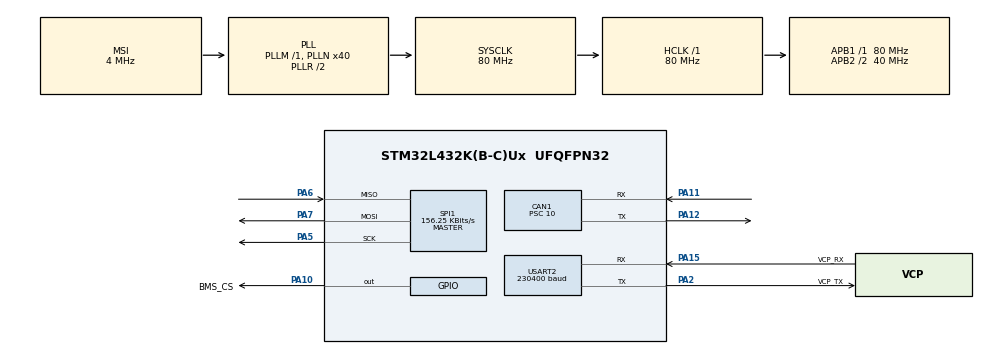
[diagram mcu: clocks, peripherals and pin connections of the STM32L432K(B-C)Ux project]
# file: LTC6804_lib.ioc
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CAN1.ABOM=ENABLE
CAN1.AWUM=ENABLE
CAN1.BS1=CAN_BS1_12TQ
CAN1.BS2=CAN_BS2_3TQ
CAN1.CalculateTimeBit=2000
CAN1.CalculateTimeQuantum=125.0
CAN1.Prescaler=10
CAN1.SJW=CAN_SJW_3TQ
CRC.CRCLength=CRC_POLYLENGTH_16B
CRC.DefaultInitValueUse=DEFAULT_INIT_VALUE_DISABLE
CRC.DefaultPolynomialUse=DEFAULT_POLYNOMIAL_DISABLE
CRC.GeneratingPolynomial=X15+X14+X10+X8+X7+X4+X3+X0
CRC.InitValue=16
Dma.Request0=USART2_RX
Dma.Request1=USART2_TX
Dma.Request2=SPI1_TX
Dma.Request3=SPI1_RX
Dma.SPI1_RX.3.Direction=DMA_PERIPH_TO_MEMORY
Dma.SPI1_RX.3.Instance=DMA1_Channel2
Dma.SPI1_RX.3.MemDataAlignment=DMA_MDATAALIGN_BYTE
Dma.SPI1_RX.3.MemInc=DMA_MINC_ENABLE
Dma.SPI1_RX.3.Mode=DMA_NORMAL
Dma.SPI1_RX.3.PeriphDataAlignment=DMA_PDATAALIGN_BYTE
Dma.SPI1_RX.3.PeriphInc=DMA_PINC_DISABLE
Dma.SPI1_RX.3.Priority=DMA_PRIORITY_VERY_HIGH
Dma.SPI1_TX.2.Direction=DMA_MEMORY_TO_PERIPH
Dma.SPI1_TX.2.Instance=DMA1_Channel3
Dma.SPI1_TX.2.MemDataAlignment=DMA_MDATAALIGN_BYTE
Dma.SPI1_TX.2.MemInc=DMA_MINC_ENABLE
Dma.SPI1_TX.2.Mode=DMA_NORMAL
Dma.SPI1_TX.2.PeriphDataAlignment=DMA_PDATAALIGN_BYTE
Dma.SPI1_TX.2.PeriphInc=DMA_PINC_DISABLE
Dma.SPI1_TX.2.Priority=DMA_PRIORITY_HIGH
Dma.USART2_RX.0.Direction=DMA_PERIPH_TO_MEMORY
Dma.USART2_RX.0.Instance=DMA1_Channel6
Dma.USART2_RX.0.MemDataAlignment=DMA_MDATAALIGN_BYTE
Dma.USART2_RX.0.MemInc=DMA_MINC_ENABLE
Dma.USART2_RX.0.Mode=DMA_CIRCULAR
Dma.USART2_RX.0.PeriphDataAlignment=DMA_PDATAALIGN_BYTE
Dma.USART2_RX.0.PeriphInc=DMA_PINC_DISABLE
Dma.USART2_RX.0.Priority=DMA_PRIORITY_HIGH
Dma.USART2_TX.1.Direction=DMA_MEMORY_TO_PERIPH
Dma.USART2_TX.1.Instance=DMA1_Channel7
Dma.USART2_TX.1.MemDataAlignment=DMA_MDATAALIGN_BYTE
Dma.USART2_TX.1.MemInc=DMA_MINC_ENABLE
Dma.USART2_TX.1.Mode=DMA_NORMAL
Dma.USART2_TX.1.PeriphDataAlignment=DMA_PDATAALIGN_BYTE
Dma.USART2_TX.1.PeriphInc=DMA_PINC_DISABLE
Dma.USART2_TX.1.Priority=DMA_PRIORITY_MEDIUM
FREERTOS.BinarySemaphores01=bmsTRxComplete
FREERTOS.INCLUDE_eTaskGetState=1
FREERTOS.INCLUDE_vTaskDelayUntil=1
FREERTOS.INCLUDE_xQueueGetMutexHolder=1
FREERTOS.INCLUDE_xSemaphoreGetMutexHolder=1
FREERTOS.INCLUDE_xTaskGetCurrentTaskHandle=1
FREERTOS.Mutexes01=swMtx
FREERTOS.Queues01=mainCanTxQ,16,Can_frame_t,NULL;mainCanRxQ,16,Can_frame_t,NULL
FREERTOS.Tasks01=Application,0,512,doApplication,Default;Can_Processor,-1,512,doProcessCan,Default
FREERTOS.Timers01=WWDGTmr,TmrKickDog,osTimerPeriodic,Default;HBTmr,TmrSendHB,osTimerPeriodic,Default
FREERTOS.configCHECK_FOR_STACK_OVERFLOW=2
FREERTOS.configENABLE_BACKWARD_COMPATIBILITY=0
FREERTOS.configMAX_PRIORITIES=6
FREERTOS.configMINIMAL_STACK_SIZE=256
FREERTOS.configTIMER_QUEUE_LENGTH=8
FREERTOS.configTIMER_TASK_PRIORITY=5
FREERTOS.configTIMER_TASK_STACK_DEPTH=512
FREERTOS.configTOTAL_HEAP_SIZE=32786
FREERTOS.configUSE_MALLOC_FAILED_HOOK=1
FREERTOS.configUSE_PORT_OPTIMISED_TASK_SELECTION=1
FREERTOS.configUSE_TASK_NOTIFICATIONS=0
FREERTOS.configUSE_TIMERS=1
FREERTOS.configUSE_TRACE_FACILITY=0
Mcu.Family=STM32L4
Mcu.Name=STM32L432K(B-C)Ux
Mcu.Package=UFQFPN32
NVIC.CAN1_RX0_IRQn=true\:5\:0\:true\:false\:true\:true
NVIC.CAN1_RX1_IRQn=true\:5\:0\:true\:false\:true\:true
NVIC.CAN1_SCE_IRQn=true\:5\:0\:true\:false\:true\:true
NVIC.CAN1_TX_IRQn=true\:5\:0\:true\:false\:true\:true
NVIC.DMA1_Channel2_IRQn=true\:5\:0\:false\:false\:true\:true
NVIC.DMA1_Channel3_IRQn=true\:5\:0\:false\:false\:true\:true
NVIC.DMA1_Channel6_IRQn=true\:5\:0\:false\:false\:true\:true
NVIC.DMA1_Channel7_IRQn=true\:5\:0\:false\:false\:true\:true
NVIC.PriorityGroup=NVIC_PRIORITYGROUP_4
NVIC.SPI1_IRQn=true\:5\:0\:false\:false\:true\:true
NVIC.TIM6_DAC_IRQn=true\:0\:0\:false\:false\:true\:false
NVIC.TimeBase=TIM6_DAC_IRQn
NVIC.TimeBaseIP=TIM6
NVIC.USART2_IRQn=true\:5\:0\:false\:false\:true\:true
PA10.GPIO_Label=BMS_CS
PA10.GPIO_ModeDefaultOutputPP=GPIO_MODE_OUTPUT_PP
PA10.GPIO_PuPd=GPIO_PULLUP
PA10.GPIO_Speed=GPIO_SPEED_FREQ_LOW
PA10.PinState=GPIO_PIN_SET
PA10.Signal=GPIO_Output
PA11.Mode=Master
PA11.Signal=CAN1_RX
PA12.Mode=Master
PA12.Signal=CAN1_TX
PA13\ (JTMS-SWDIO).Mode=Serial_Wire
PA13\ (JTMS-SWDIO).Signal=SYS_JTMS-SWDIO
PA14\ (JTCK-SWCLK).Mode=Serial_Wire
PA14\ (JTCK-SWCLK).Signal=SYS_JTCK-SWCLK
PA15\ (JTDI).GPIO_Label=VCP_RX
PA15\ (JTDI).Mode=Asynchronous
PA15\ (JTDI).Signal=USART2_RX
PA2.GPIO_Label=VCP_TX
PA2.Mode=Asynchronous
PA2.Signal=USART2_TX
PA5.Mode=Full_Duplex_Master
PA5.Signal=SPI1_SCK
PA6.Mode=Full_Duplex_Master
PA6.Signal=SPI1_MISO
PA7.Mode=Full_Duplex_Master
PA7.Signal=SPI1_MOSI
ProjectManager.HeapSize=0x200
ProjectManager.StackSize=0x400
ProjectManager.TargetToolchain=SW4STM32
RCC.ADCCLockSelection=RCC_ADCCLKSOURCE_SYSCLK
RCC.ADCFreq_Value=80000000
RCC.AHBFreq_Value=80000000
RCC.APB1Freq_Value=80000000
RCC.APB1TimFreq_Value=80000000
RCC.APB2CLKDivider=RCC_HCLK_DIV2
RCC.APB2Freq_Value=40000000
RCC.APB2TimFreq_Value=80000000
RCC.CortexFreq_Value=80000000
RCC.HCLKFreq_Value=80000000
RCC.HSE_VALUE=8000000
RCC.HSI16_VALUE=16000000
RCC.HSI48_VALUE=48000000
RCC.HSI_VALUE=16000000
RCC.LSE_VALUE=32768
RCC.MSI_VALUE=4000000
RCC.PLLMUL=RCC_PLLMUL_4
RCC.PLLN=40
RCC.PLLSAI1N=40
RCC.PREFETCH_ENABLE=1
RCC.SYSCLKFreq_VALUE=80000000
RCC.SYSCLKSource=RCC_SYSCLKSOURCE_PLLCLK
RCC.USBFreq_Value=80000000
RCC.VCOOutputFreq_Value=160000000
SPI1.BaudRatePrescaler=SPI_BAUDRATEPRESCALER_256
SPI1.CLKPhase=SPI_PHASE_2EDGE
SPI1.CLKPolarity=SPI_POLARITY_HIGH
SPI1.CalculateBaudRate=156.25 KBits/s
SPI1.DataSize=SPI_DATASIZE_8BIT
SPI1.Mode=SPI_MODE_MASTER
USART2.BaudRate=230400
USART2.WordLength=UART_WORDLENGTH_8B
VP_CRC_VS_CRC.Mode=CRC_Activate
VP_FREERTOS_VS_ENABLE.Mode=Enabled
VP_SYS_VS_tim6.Mode=TIM6
VP_WWDG_VS_WWDG.Mode=WWDG_Activate
WWDG.Counter=127
WWDG.Prescaler=WWDG_PRESCALER_8
WWDG.Window=127
board=NUCLEO-L432KC

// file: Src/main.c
/**
  ******************************************************************************
  * File Name          : main.c
  * Description        : Main program body
  ******************************************************************************
  *
  * Copyright (c) 2017 STMicroelectronics International N.V.
  * All rights reserved.
  *
  * Redistribution and use in source and binary forms, with or without
  * modification, are permitted, provided that the following conditions are met:
  *
  * 1. Redistribution of source code must retain the above copyright notice,
  *    this list of conditions and the following disclaimer.
  * 2. Redistributions in binary form must reproduce the above copyright notice,
  *    this list of conditions and the following disclaimer in the documentation
  *    and/or other materials provided with the distribution.
  * 3. Neither the name of STMicroelectronics nor the names of other
  *    contributors to this software may be used to endorse or promote products
  *    derived from this software without specific written permission.
  * 4. This software, including modifications and/or derivative works of this
  *    software, must execute solely and exclusively on microcontroller or
  *    microprocessor devices manufactured by or for STMicroelectronics.
  * 5. Redistribution and use of this software other than as permitted under
  *    this license is void and will automatically terminate your rights under
  *    this license.
  *
  * THIS SOFTWARE IS PROVIDED BY STMICROELECTRONICS AND CONTRIBUTORS "AS IS"
  * AND ANY EXPRESS, IMPLIED OR STATUTORY WARRANTIES, INCLUDING, BUT NOT
  * LIMITED TO, THE IMPLIED WARRANTIES OF MERCHANTABILITY, FITNESS FOR A
  * PARTICULAR PURPOSE AND NON-INFRINGEMENT OF THIRD PARTY INTELLECTUAL PROPERTY
  * RIGHTS ARE DISCLAIMED TO THE FULLEST EXTENT PERMITTED BY LAW. IN NO EVENT
  * SHALL STMICROELECTRONICS OR CONTRIBUTORS BE LIABLE FOR ANY DIRECT, INDIRECT,
  * INCIDENTAL, SPECIAL, EXEMPLARY, OR CONSEQUENTIAL DAMAGES (INCLUDING, BUT NOT
  * LIMITED TO, PROCUREMENT OF SUBSTITUTE GOODS OR SERVICES; LOSS OF USE, DATA,
  * OR PROFITS; OR BUSINESS INTERRUPTION) HOWEVER CAUSED AND ON ANY THEORY OF
  * LIABILITY, WHETHER IN CONTRACT, STRICT LIABILITY, OR TORT (INCLUDING
  * NEGLIGENCE OR OTHERWISE) ARISING IN ANY WAY OUT OF THE USE OF THIS SOFTWARE,
  * EVEN IF ADVISED OF THE POSSIBILITY OF SUCH DAMAGE.
  *
  ******************************************************************************
  */
#include "main.h"
#include "stm32l4xx_hal.h"
#include "cmsis_os.h"

/* USER CODE BEGIN Includes */
#include "can.h"
#include "serial.h"
#include "nodeMiscHelpers.h"
#include "nodeConf.h"
#include "../../CAN_ID.h"
#include "LTC68041.h"

// RTOS Task functions + helpers
#include "Can_Processor.h"

/* USER CODE END Includes */

CAN_HandleTypeDef hcan1;

CRC_HandleTypeDef hcrc;

SPI_HandleTypeDef hspi1;
DMA_HandleTypeDef hdma_spi1_tx;
DMA_HandleTypeDef hdma_spi1_rx;

UART_HandleTypeDef huart2;
DMA_HandleTypeDef hdma_usart2_rx;
DMA_HandleTypeDef hdma_usart2_tx;

WWDG_HandleTypeDef hwwdg;

osThreadId ApplicationHandle;
osThreadId Can_ProcessorHandle;
osMessageQId mainCanTxQHandle;
osMessageQId mainCanRxQHandle;
osTimerId WWDGTmrHandle;
osTimerId HBTmrHandle;
osMutexId swMtxHandle;
osSemaphoreId bmsTRxCompleteHandle;

/* USER CODE BEGIN PV */
/* Private variables ---------------------------------------------------------*/
bmsChainHandleTypeDef hbms1;

#ifdef FRANK
const uint32_t firmwareString = 0x00000100;	// v00.00.01.0
const uint8_t selfNodeID = 6;	// Radio
uint32_t selfStatusWord = 0x0;
#define NODE_CONFIGURED
#elif defined (__JAMES__)
static const uint32_t firmwareString = 0x00000100;
static const uint8_t selfNodeID = 6;
uint32_t selfStatusWord = 0x0;
#define NODE_CONFIGURED
#else
// SW_Sentinel will fail the CC firmware check and result in node addition failure!
static const uint32_t firmwareString = ;			// Firmware Version string

static const uint8_t selfNodeID = ;					// The nodeID of this node
uint32_t selfStatusWord = ;							// Initialize
#endif

#ifndef NODE_CONFIGURED
#error "NODE NOT CONFIGURED. GO CONFIGURE IT IN NODECONF.H!"
#endif
/* USER CODE END PV */

void SystemClock_Config(void);
void Error_Handler(void);
static void MX_GPIO_Init(void);
static void MX_DMA_Init(void);
static void MX_CAN1_Init(void);
static void MX_USART2_UART_Init(void);
static void MX_WWDG_Init(void);
static void MX_SPI1_Init(void);
static void MX_CRC_Init(void);
void doApplication(void const * argument);
void doProcessCan(void const * argument);
void TmrKickDog(void const * argument);
void TmrSendHB(void const * argument);

/* USER CODE BEGIN PFP */
/* Private function prototypes -----------------------------------------------*/
#ifdef __JAMES__
void can_rx_cb(){
	static uint8_t cantxmsg[] = "CAN Tx'd.\n";
	Serial2_writeBuf(cantxmsg);
}
#endif
/* USER CODE END PFP */

/* USER CODE BEGIN 0 */
// SPI DMA read channels complete callback
void HAL_SPI_TxRxCpltCallback(SPI_HandleTypeDef *hspi){
	// Check which SPI issued interrupt
	if(hspi == (hbms1.hspi)){
		HAL_GPIO_WritePin(BMS_CS_GPIO_Port,BMS_CS_Pin, GPIO_PIN_SET);
		xSemaphoreGiveFromISR(bmsTRxCompleteHandle, NULL);
	}
}

// SPI DMA write reg complete callback
void HAL_SPI_TxCpltCallback(SPI_HandleTypeDef *hspi){
	// Check which SPI issued interrupt
	if(hspi == (hbms1.hspi)){
		HAL_GPIO_WritePin(BMS_CS_GPIO_Port,BMS_CS_Pin, GPIO_PIN_SET);
	}
}
/* USER CODE END 0 */

int main(void)
{

  /* MCU Configuration----------------------------------------------------------*/

  /* Reset of all peripherals, Initializes the Flash interface and the Systick. */
  HAL_Init();

  /* Configure the system clock */
  SystemClock_Config();

  /* Initialize all configured peripherals */
  MX_GPIO_Init();
  MX_DMA_Init();
  MX_CAN1_Init();
  MX_USART2_UART_Init();
  MX_WWDG_Init();
  MX_SPI1_Init();
  MX_CRC_Init();

  /* USER CODE BEGIN 2 */
  Serial2_begin();
  static uint8_t hbmsg[] = "Booting... \n";
  Serial2_writeBuf(hbmsg);

  ////*IF YOU GET HCAN1 NOT DEFINED ERROR, CHECK NODECONF.H FIRST!*////
  bxCan_begin(&hcan1, &mainCanRxQHandle, &mainCanTxQHandle);
  // TODO: Set node-specific CAN filters
  bxCan_addMaskedFilterStd(0,0,0); // Filter: Status word group (ignore nodeID)
  bxCan_addMaskedFilterExt(0,0,0);

#ifdef __JAMES__
  bxCan_setTxCallback(can_rx_cb);
#endif

  // Set up the global ADC configs for the LTC6804
//  ltc68041ChainInitStruct bmsInitParams[TOTAL_IC];
//  LTC68041_Initialize(&hbms1, bmsInitParams);
  hbms1.hspi = &hspi1;
  if(ltc68041_Initialize(&hbms1) != 0){
	  for(;;);
  }

  HAL_WWDG_Refresh(&hwwdg);
  /* USER CODE END 2 */

  /* Create the mutex(es) */
  /* definition and creation of swMtx */
  osMutexDef(swMtx);
  swMtxHandle = osMutexCreate(osMutex(swMtx));

  /* Create the semaphores(s) */
  /* definition and creation of bmsTRxComplete */
  osSemaphoreDef(bmsTRxComplete);
  bmsTRxCompleteHandle = osSemaphoreCreate(osSemaphore(bmsTRxComplete), 1);

  /* Create the timer(s) */
  /* definition and creation of WWDGTmr */
  osTimerDef(WWDGTmr, TmrKickDog);
  WWDGTmrHandle = osTimerCreate(osTimer(WWDGTmr), osTimerPeriodic, NULL);

  /* definition and creation of HBTmr */
  osTimerDef(HBTmr, TmrSendHB);
  HBTmrHandle = osTimerCreate(osTimer(HBTmr), osTimerPeriodic, NULL);

  /* USER CODE BEGIN RTOS_TIMERS */
  /* start timers, add new ones, ... */
  osTimerStart(WWDGTmrHandle, WD_Interval);
  osTimerStart(HBTmrHandle, HB_Interval);
  /* USER CODE END RTOS_TIMERS */

  /* Create the thread(s) */
  /* definition and creation of Application */
  osThreadDef(Application, doApplication, osPriorityNormal, 0, 512);
  ApplicationHandle = osThreadCreate(osThread(Application), NULL);

  /* definition and creation of Can_Processor */
  osThreadDef(Can_Processor, doProcessCan, osPriorityBelowNormal, 0, 512);
  Can_ProcessorHandle = osThreadCreate(osThread(Can_Processor), NULL);

  /* Create the queue(s) */
  /* definition and creation of mainCanTxQ */
  osMessageQDef(mainCanTxQ, 16, Can_frame_t);
  mainCanTxQHandle = osMessageCreate(osMessageQ(mainCanTxQ), NULL);

  /* definition and creation of mainCanRxQ */
  osMessageQDef(mainCanRxQ, 16, Can_frame_t);
  mainCanRxQHandle = osMessageCreate(osMessageQ(mainCanRxQ), NULL);

  /* Start scheduler */
  osKernelStart();

  /* We should never get here as control is now taken by the scheduler */

  /* Infinite loop */
  while (1)
  {

  }

}

/** System Clock Configuration
*/
void SystemClock_Config(void)
{

  RCC_OscInitTypeDef RCC_OscInitStruct;
  RCC_ClkInitTypeDef RCC_ClkInitStruct;
  RCC_PeriphCLKInitTypeDef PeriphClkInit;

    /**Initializes the CPU, AHB and APB busses clocks
    */
  RCC_OscInitStruct.OscillatorType = RCC_OSCILLATORTYPE_MSI;
  RCC_OscInitStruct.MSIState = RCC_MSI_ON;
  RCC_OscInitStruct.MSICalibrationValue = 0;
  RCC_OscInitStruct.MSIClockRange = RCC_MSIRANGE_6;
  RCC_OscInitStruct.PLL.PLLState = RCC_PLL_ON;
  RCC_OscInitStruct.PLL.PLLSource = RCC_PLLSOURCE_MSI;
  RCC_OscInitStruct.PLL.PLLM = 1;
  RCC_OscInitStruct.PLL.PLLN = 40;
  RCC_OscInitStruct.PLL.PLLP = RCC_PLLP_DIV7;
  RCC_OscInitStruct.PLL.PLLQ = RCC_PLLQ_DIV2;
  RCC_OscInitStruct.PLL.PLLR = RCC_PLLR_DIV2;
  if (HAL_RCC_OscConfig(&RCC_OscInitStruct) != HAL_OK)
  {
    Error_Handler();
  }

    /**Initializes the CPU, AHB and APB busses clocks
    */
  RCC_ClkInitStruct.ClockType = RCC_CLOCKTYPE_HCLK|RCC_CLOCKTYPE_SYSCLK
                              |RCC_CLOCKTYPE_PCLK1|RCC_CLOCKTYPE_PCLK2;
  RCC_ClkInitStruct.SYSCLKSource = RCC_SYSCLKSOURCE_PLLCLK;
  RCC_ClkInitStruct.AHBCLKDivider = RCC_SYSCLK_DIV1;
  RCC_ClkInitStruct.APB1CLKDivider = RCC_HCLK_DIV1;
  RCC_ClkInitStruct.APB2CLKDivider = RCC_HCLK_DIV2;

  if (HAL_RCC_ClockConfig(&RCC_ClkInitStruct, FLASH_LATENCY_4) != HAL_OK)
  {
    Error_Handler();
  }

  PeriphClkInit.PeriphClockSelection = RCC_PERIPHCLK_USART2;
  PeriphClkInit.Usart2ClockSelection = RCC_USART2CLKSOURCE_PCLK1;
  if (HAL_RCCEx_PeriphCLKConfig(&PeriphClkInit) != HAL_OK)
  {
    Error_Handler();
  }

    /**Configure the main internal regulator output voltage
    */
  if (HAL_PWREx_ControlVoltageScaling(PWR_REGULATOR_VOLTAGE_SCALE1) != HAL_OK)
  {
    Error_Handler();
  }

    /**Configure the Systick interrupt time
    */
  HAL_SYSTICK_Config(HAL_RCC_GetHCLKFreq()/1000);

    /**Configure the Systick
    */
  HAL_SYSTICK_CLKSourceConfig(SYSTICK_CLKSOURCE_HCLK);

  /* SysTick_IRQn interrupt configuration */
  HAL_NVIC_SetPriority(SysTick_IRQn, 15, 0);
}

/* CAN1 init function */
static void MX_CAN1_Init(void)
{

  hcan1.Instance = CAN1;
  hcan1.Init.Prescaler = 10;
  hcan1.Init.Mode = CAN_MODE_NORMAL;
  hcan1.Init.SJW = CAN_SJW_3TQ;
  hcan1.Init.BS1 = CAN_BS1_12TQ;
  hcan1.Init.BS2 = CAN_BS2_3TQ;
  hcan1.Init.TTCM = DISABLE;
  hcan1.Init.ABOM = ENABLE;
  hcan1.Init.AWUM = ENABLE;
  hcan1.Init.NART = DISABLE;
  hcan1.Init.RFLM = DISABLE;
  hcan1.Init.TXFP = DISABLE;
  if (HAL_CAN_Init(&hcan1) != HAL_OK)
  {
    Error_Handler();
  }

}

/* CRC init function */
static void MX_CRC_Init(void)
{

  hcrc.Instance = CRC;
  hcrc.Init.DefaultPolynomialUse = DEFAULT_POLYNOMIAL_DISABLE;
  hcrc.Init.DefaultInitValueUse = DEFAULT_INIT_VALUE_DISABLE;
  hcrc.Init.GeneratingPolynomial = 50585;
  hcrc.Init.CRCLength = CRC_POLYLENGTH_16B;
  hcrc.Init.InitValue = 16;
  hcrc.Init.InputDataInversionMode = CRC_INPUTDATA_INVERSION_NONE;
  hcrc.Init.OutputDataInversionMode = CRC_OUTPUTDATA_INVERSION_DISABLE;
  hcrc.InputDataFormat = CRC_INPUTDATA_FORMAT_BYTES;
  if (HAL_CRC_Init(&hcrc) != HAL_OK)
  {
    Error_Handler();
  }

}

/* SPI1 init function */
static void MX_SPI1_Init(void)
{

  hspi1.Instance = SPI1;
  hspi1.Init.Mode = SPI_MODE_MASTER;
  hspi1.Init.Direction = SPI_DIRECTION_2LINES;
  hspi1.Init.DataSize = SPI_DATASIZE_8BIT;
  hspi1.Init.CLKPolarity = SPI_POLARITY_HIGH;
  hspi1.Init.CLKPhase = SPI_PHASE_2EDGE;
  hspi1.Init.NSS = SPI_NSS_SOFT;
  hspi1.Init.BaudRatePrescaler = SPI_BAUDRATEPRESCALER_256;
  hspi1.Init.FirstBit = SPI_FIRSTBIT_MSB;
  hspi1.Init.TIMode = SPI_TIMODE_DISABLE;
  hspi1.Init.CRCCalculation = SPI_CRCCALCULATION_DISABLE;
  hspi1.Init.CRCPolynomial = 7;
  hspi1.Init.CRCLength = SPI_CRC_LENGTH_DATASIZE;
  hspi1.Init.NSSPMode = SPI_NSS_PULSE_DISABLE;
  if (HAL_SPI_Init(&hspi1) != HAL_OK)
  {
    Error_Handler();
  }

}

/* USART2 init function */
static void MX_USART2_UART_Init(void)
{

  huart2.Instance = USART2;
  huart2.Init.BaudRate = 230400;
  huart2.Init.WordLength = UART_WORDLENGTH_8B;
  huart2.Init.StopBits = UART_STOPBITS_1;
  huart2.Init.Parity = UART_PARITY_NONE;
  huart2.Init.Mode = UART_MODE_TX_RX;
  huart2.Init.HwFlowCtl = UART_HWCONTROL_NONE;
  huart2.Init.OverSampling = UART_OVERSAMPLING_16;
  huart2.Init.OneBitSampling = UART_ONE_BIT_SAMPLE_DISABLE;
  huart2.AdvancedInit.AdvFeatureInit = UART_ADVFEATURE_NO_INIT;
  if (HAL_UART_Init(&huart2) != HAL_OK)
  {
    Error_Handler();
  }

}

/* WWDG init function */
static void MX_WWDG_Init(void)
{

  hwwdg.Instance = WWDG;
  hwwdg.Init.Prescaler = WWDG_PRESCALER_8;
  hwwdg.Init.Window = 127;
  hwwdg.Init.Counter = 127;
  hwwdg.Init.EWIMode = WWDG_EWI_DISABLE;
  if (HAL_WWDG_Init(&hwwdg) != HAL_OK)
  {
    Error_Handler();
  }

}

static void MX_DMA_Init(void)
{
  /* DMA controller clock enable */
  LL_AHB1_GRP1_EnableClock(LL_AHB1_GRP1_PERIPH_DMA1);

  /* DMA interrupt init */
  /* DMA1_Channel2_IRQn interrupt configuration */
  HAL_NVIC_SetPriority(DMA1_Channel2_IRQn, 5, 0);
  HAL_NVIC_EnableIRQ(DMA1_Channel2_IRQn);
  /* DMA1_Channel3_IRQn interrupt configuration */
  HAL_NVIC_SetPriority(DMA1_Channel3_IRQn, 5, 0);
  HAL_NVIC_EnableIRQ(DMA1_Channel3_IRQn);
  /* DMA1_Channel6_IRQn interrupt configuration */
  HAL_NVIC_SetPriority(DMA1_Channel6_IRQn, 5, 0);
  HAL_NVIC_EnableIRQ(DMA1_Channel6_IRQn);
  /* DMA1_Channel7_IRQn interrupt configuration */
  HAL_NVIC_SetPriority(DMA1_Channel7_IRQn, 5, 0);
  HAL_NVIC_EnableIRQ(DMA1_Channel7_IRQn);

}

/** Configure pins as
        * Analog
        * Input
        * Output
        * EVENT_OUT
        * EXTI
*/
static void MX_GPIO_Init(void)
{

  GPIO_InitTypeDef GPIO_InitStruct;

  /* GPIO Ports Clock Enable */
  __HAL_RCC_GPIOA_CLK_ENABLE();

  /*Configure GPIO pin Output Level */
  HAL_GPIO_WritePin(BMS_CS_GPIO_Port, BMS_CS_Pin, GPIO_PIN_SET);

  /*Configure GPIO pin : BMS_CS_Pin */
  GPIO_InitStruct.Pin = BMS_CS_Pin;
  GPIO_InitStruct.Mode = GPIO_MODE_OUTPUT_PP;
  GPIO_InitStruct.Pull = GPIO_PULLUP;
  GPIO_InitStruct.Speed = GPIO_SPEED_FREQ_LOW;
  HAL_GPIO_Init(BMS_CS_GPIO_Port, &GPIO_InitStruct);

}

/* doApplication function */
void doApplication(void const * argument)
{

  /* USER CODE BEGIN 5 */
  /* Infinite loop */
  for(;;)
  {
	int8_t success = ltc68041_clearCell(&hbms1);
    osDelay(3);
    success = ltc68041_startCVConv(&hbms1);

    // Delay enough time but also make sure that the chip doesn't go into sleep mode
	for(uint8_t i = 0; i < 3 * TOTAL_IC; i++){
		osDelay(3);
		wakeup_sleep();
	}

	// Read the register groups
	success = ltc68041_readRegGroup(&hbms1, RDCVA);
	osDelay(2);
	ltc68041_parseCV(&hbms1, A);

	success = ltc68041_readRegGroup(&hbms1, RDCVB);
	osDelay(2);
	ltc68041_parseCV(&hbms1, B);

	success = ltc68041_readRegGroup(&hbms1, RDCVC);
	osDelay(2);
	ltc68041_parseCV(&hbms1, C);

	success = ltc68041_readRegGroup(&hbms1, RDCVD);
	osDelay(2);
	ltc68041_parseCV(&hbms1, D);

	osDelay(100);
  }
  /* USER CODE END 5 */
}

/* doProcessCan function */
void doProcessCan(void const * argument)
{
  /* USER CODE BEGIN doProcessCan */
  /* Infinite loop */
	for(;;){
		// Wrapper function for the CAN Processing Logic
		// Handles all CAN Protocol Suite based responses and tasks
		Can_Processor();
	}
  /* USER CODE END doProcessCan */
}

/* TmrKickDog function */
void TmrKickDog(void const * argument)
{
  /* USER CODE BEGIN TmrKickDog */
	// CHECKED
	taskENTER_CRITICAL();
	HAL_WWDG_Refresh(&hwwdg);
	taskEXIT_CRITICAL();
  /* USER CODE END TmrKickDog */
}

/* TmrSendHB function */
void TmrSendHB(void const * argument)
{
  /* USER CODE BEGIN TmrSendHB */
	// CHECKED
	static Can_frame_t newFrame;
	newFrame.isExt = 0;
	newFrame.isRemote = 0;

	if(getSelfState() == ACTIVE){
		// Assemble new heartbeat frame
		newFrame.id = selfNodeID + swOffset;
		newFrame.dlc = CAN_HB_DLC;

		#ifdef DEBUG
			static uint8_t hbmsg[] = "Heartbeat issued\n";
			Serial2_writeBytes(hbmsg, sizeof(hbmsg)-1);
		#endif
	}
	else if (getSelfState() == INIT){
		// Assemble new addition request (firmware version) frame
		newFrame.id = selfNodeID + fwOffset;
		newFrame.dlc = CAN_FW_DLC;

		#ifdef DEBUG
			static uint8_t hbmsg[] = "Init handshake issued\n";
			Serial2_writeBytes(hbmsg, sizeof(hbmsg)-1);
		#endif
	}
	bxCan_sendFrame(&newFrame);
	// No heartbeats sent in other states
  /* USER CODE END TmrSendHB */
}

void HAL_TIM_PeriodElapsedCallback(TIM_HandleTypeDef *htim)
{
  if (htim->Instance == TIM6) {
    HAL_IncTick();
  }
}

void Error_Handler(void)
{
  while(1)
  {
  }
}

/************************ (C) COPYRIGHT STMicroelectronics *****END OF FILE****/

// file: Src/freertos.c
/**
  ******************************************************************************
  * File Name          : freertos.c
  * Description        : Code for freertos applications
  ******************************************************************************
  *
  * Copyright (c) 2017 STMicroelectronics International N.V.
  * All rights reserved.
  *
  * Redistribution and use in source and binary forms, with or without
  * modification, are permitted, provided that the following conditions are met:
  *
  * 1. Redistribution of source code must retain the above copyright notice,
  *    this list of conditions and the following disclaimer.
  * 2. Redistributions in binary form must reproduce the above copyright notice,
  *    this list of conditions and the following disclaimer in the documentation
  *    and/or other materials provided with the distribution.
  * 3. Neither the name of STMicroelectronics nor the names of other
  *    contributors to this software may be used to endorse or promote products
  *    derived from this software without specific written permission.
  * 4. This software, including modifications and/or derivative works of this
  *    software, must execute solely and exclusively on microcontroller or
  *    microprocessor devices manufactured by or for STMicroelectronics.
  * 5. Redistribution and use of this software other than as permitted under
  *    this license is void and will automatically terminate your rights under
  *    this license.
  *
  * THIS SOFTWARE IS PROVIDED BY STMICROELECTRONICS AND CONTRIBUTORS "AS IS"
  * AND ANY EXPRESS, IMPLIED OR STATUTORY WARRANTIES, INCLUDING, BUT NOT
  * LIMITED TO, THE IMPLIED WARRANTIES OF MERCHANTABILITY, FITNESS FOR A
  * PARTICULAR PURPOSE AND NON-INFRINGEMENT OF THIRD PARTY INTELLECTUAL PROPERTY
  * RIGHTS ARE DISCLAIMED TO THE FULLEST EXTENT PERMITTED BY LAW. IN NO EVENT
  * SHALL STMICROELECTRONICS OR CONTRIBUTORS BE LIABLE FOR ANY DIRECT, INDIRECT,
  * INCIDENTAL, SPECIAL, EXEMPLARY, OR CONSEQUENTIAL DAMAGES (INCLUDING, BUT NOT
  * LIMITED TO, PROCUREMENT OF SUBSTITUTE GOODS OR SERVICES; LOSS OF USE, DATA,
  * OR PROFITS; OR BUSINESS INTERRUPTION) HOWEVER CAUSED AND ON ANY THEORY OF
  * LIABILITY, WHETHER IN CONTRACT, STRICT LIABILITY, OR TORT (INCLUDING
  * NEGLIGENCE OR OTHERWISE) ARISING IN ANY WAY OUT OF THE USE OF THIS SOFTWARE,
  * EVEN IF ADVISED OF THE POSSIBILITY OF SUCH DAMAGE.
  *
  ******************************************************************************
  */

#include "FreeRTOS.h"
#include "task.h"

/* Hook prototypes */
void vApplicationStackOverflowHook(TaskHandle_t xTask, signed char *pcTaskName);
void vApplicationMallocFailedHook(void);

/* USER CODE BEGIN 4 */
__weak void vApplicationStackOverflowHook(TaskHandle_t xTask, signed char *pcTaskName)
{
   /* Run time stack overflow checking is performed if
   configCHECK_FOR_STACK_OVERFLOW is defined to 1 or 2. This hook function is
   called if a stack overflow is detected. */
}
/* USER CODE END 4 */

/* USER CODE BEGIN 5 */
__weak void vApplicationMallocFailedHook(void)
{
   /* vApplicationMallocFailedHook() will only be called if
   configUSE_MALLOC_FAILED_HOOK is set to 1 in FreeRTOSConfig.h. It is a hook
   function that will get called if a call to pvPortMalloc() fails.
   pvPortMalloc() is called internally by the kernel whenever a task, queue,
   timer or semaphore is created. It is also called by various parts of the
   demo application. If heap_1.c or heap_2.c are used, then the size of the
   heap available to pvPortMalloc() is defined by configTOTAL_HEAP_SIZE in
   FreeRTOSConfig.h, and the xPortGetFreeHeapSize() API function can be used
   to query the size of free heap space that remains (although it does not
   provide information on how the remaining heap might be fragmented). */
}
/* USER CODE END 5 */

/************************ (C) COPYRIGHT STMicroelectronics *****END OF FILE****/
